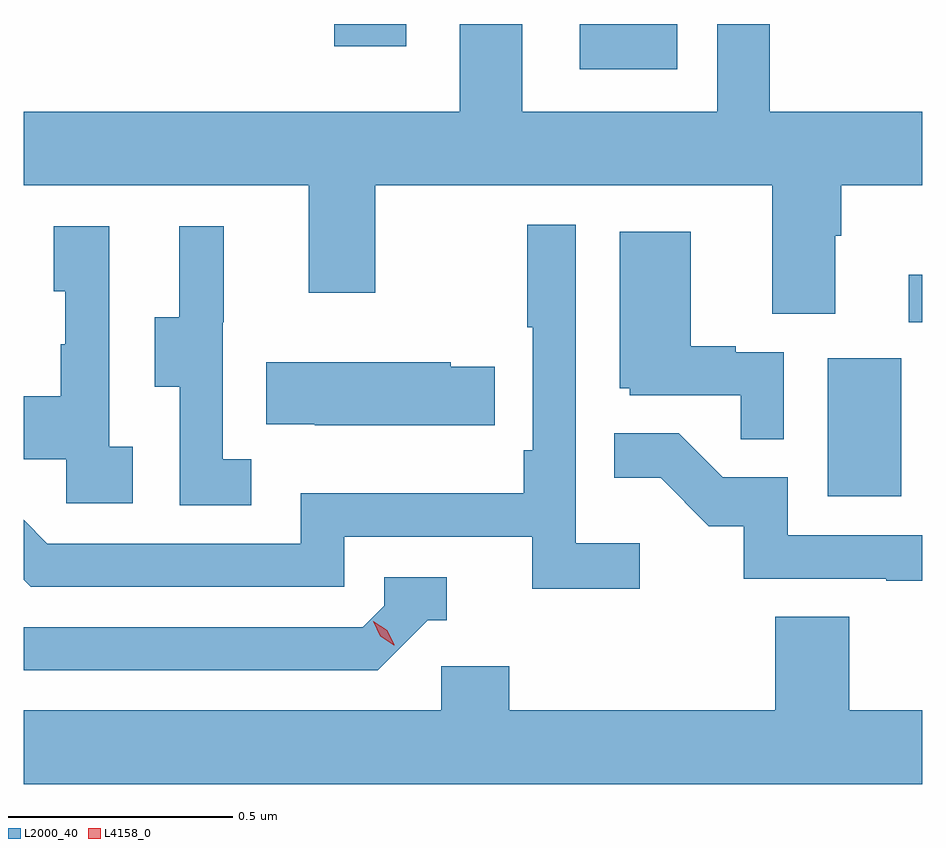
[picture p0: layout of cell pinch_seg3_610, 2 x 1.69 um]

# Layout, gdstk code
import gdstk
lib = gdstk.Library(unit=1e-6, precision=1e-09)
def R(c, l, rs):  # rectangles x0, y0, x1, y1
    for r in rs: c.add(gdstk.rectangle(r[:2], r[2:], *l))
def P(c, l, *ps):  # polygons
    for p in ps: c.add(gdstk.Polygon(p, *l))
L2000_40 = (2000, 40)
L4158_0 = (4158, 0)

pinch_seg3_610 = lib.new_cell('pinch_seg3_610')
R(pinch_seg3_610, L2000_40, [(1047.146,688.236,1047.31,688.543), (1047.327,688.623,1047.357,688.729), (1046.595,689.186,1046.812,689.287), (1046.048,689.238,1046.209,689.287)])
P(pinch_seg3_610, L2000_40, [(1047.163,688.816),(1047.176,688.816),(1047.176,688.928),(1047.357,688.928),(1047.357,689.092),(1047.017,689.092),(1047.017,689.287),(1046.901,689.287),(1046.901,689.092),(1046.467,689.092),(1046.467,689.287),(1046.327,689.287),(1046.327,689.092),(1045.357,689.092),(1045.357,688.928),(1045.991,688.928),(1045.991,688.689),(1046.139,688.689),(1046.139,688.928),(1047.023,688.928),(1047.023,688.642),(1047.163,688.642)],
  [(1046.728,688.132),(1046.586,688.132),(1046.586,688.84),(1046.478,688.84),(1046.478,688.612),(1046.49,688.612),(1046.49,688.339),(1046.47,688.339),(1046.47,688.243),(1045.974,688.243),(1045.974,688.131),(1045.41,688.131),(1045.357,688.184),(1045.357,688.051),(1045.373,688.035),(1046.07,688.035),(1046.07,688.146),(1046.489,688.146),(1046.489,688.03),(1046.728,688.03)],
  [(1045.864,688.319),(1045.8,688.319),(1045.8,688.623),(1045.802,688.623),(1045.802,688.837),(1045.703,688.837),(1045.703,688.635),(1045.649,688.635),(1045.649,688.48),(1045.704,688.48),(1045.704,688.216),(1045.864,688.216)],
  [(1045.6,688.346),(1045.548,688.346),(1045.548,688.837),(1045.424,688.837),(1045.424,688.692),(1045.45,688.692),(1045.45,688.574),(1045.44,688.574),(1045.44,688.459),(1045.357,688.459),(1045.357,688.319),(1045.452,688.319),(1045.452,688.221),(1045.6,688.221)],
  [(1047.048,688.557),(1046.942,688.557),(1046.942,688.57),(1046.842,688.57),(1046.842,688.825),(1046.684,688.825),(1046.684,688.476),(1046.706,688.476),(1046.706,688.461),(1046.953,688.461),(1046.953,688.363),(1047.048,688.363)],
  [(1046.405,688.524),(1046.307,688.524),(1046.307,688.534),(1045.897,688.534),(1045.897,688.397),(1046.005,688.397),(1046.005,688.394),(1046.405,688.394)],
  [(1047.357,688.149),(1047.057,688.149),(1047.057,688.278),(1046.913,688.278),(1046.815,688.376),(1046.671,688.376),(1046.671,688.277),(1046.775,688.277),(1046.882,688.17),(1046.959,688.17),(1046.959,688.053),(1047.277,688.053),(1047.277,688.048),(1047.357,688.048)],
  [(1046.256,687.96),(1046.299,687.96),(1046.299,688.056),(1046.16,688.056),(1046.16,687.993),(1046.112,687.945),(1045.357,687.945),(1045.357,687.849),(1046.145,687.849)],
  [(1047.357,687.76),(1047.194,687.76),(1047.194,687.968),(1047.029,687.968),(1047.029,687.76),(1046.438,687.76),(1046.438,687.858),(1046.286,687.858),(1046.286,687.76),(1045.357,687.76),(1045.357,687.596),(1047.357,687.596)])
P(pinch_seg3_610, L4158_0, [(1046.181,687.905),(1046.151,687.925),(1046.135,687.958),(1046.135,687.958),(1046.135,687.958),(1046.166,687.938),(1046.182,687.906),(1046.182,687.905)])

lib.write_gds('pinch_seg3_610.gds')
